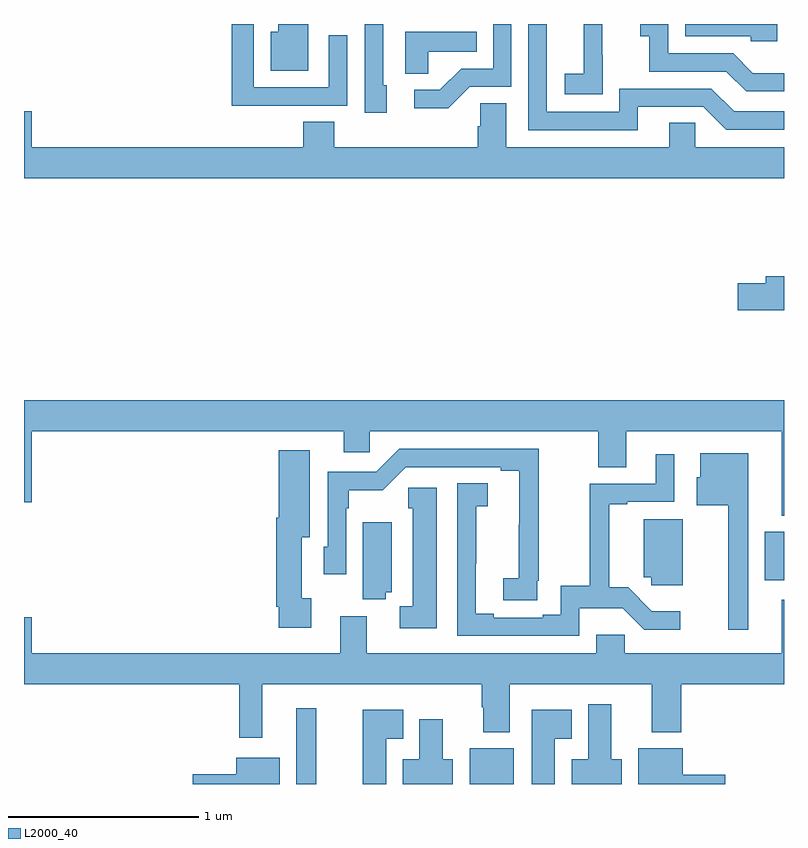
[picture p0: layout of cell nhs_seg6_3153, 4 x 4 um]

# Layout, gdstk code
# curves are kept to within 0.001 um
import gdstk
lib = gdstk.Library(unit=1e-6, precision=1e-09)
def R(c, l, rs):  # rectangles x0, y0, x1, y1
    for r in rs: c.add(gdstk.rectangle(r[:2], r[2:], *l))
def P(c, l, *ps):  # polygons
    for p in ps: c.add(gdstk.Polygon(p, *l))
L2000_40 = (2000, 40)

nhs_seg6_3153 = lib.new_cell('nhs_seg6_3153')
R(nhs_seg6_3153, L2000_40, [(298.433,925.5,298.537,925.9), (299.345,925.5,299.578,925.687), (300.899,926.573,301,926.827)])
P(nhs_seg6_3153, L2000_40, [(298.385,929.07),(298.701,929.07),(298.701,929.44),(298.605,929.44),(298.605,929.166),(298.209,929.166),(298.209,929.5),(298.093,929.5),(298.093,929.069),(298.385,929.069)],
  [(298.909,929.178),(298.89,929.178),(298.89,929.5),(298.794,929.5),(298.794,929.034),(298.909,929.034)],
  [(298.495,929.5),(298.337,929.5),(298.337,929.458),(298.298,929.458),(298.298,929.255),(298.495,929.255)],
  [(300.965,929.5),(300.48,929.5),(300.48,929.436),(300.825,929.436),(300.825,929.409),(300.965,929.409)],
  [(300.045,929.335),(300.044,929.335),(300.044,929.5),(299.946,929.5),(299.946,929.468),(299.945,929.468),(299.945,929.239),(299.847,929.239),(299.847,929.129),(300.045,929.129)],
  [(299.346,929.169),(299.565,929.169),(299.565,929.5),(299.469,929.5),(299.469,929.265),(299.3,929.265),(299.189,929.154),(299.055,929.154),(299.055,929.057),(299.233,929.057)],
  [(301,929.242),(300.836,929.242),(300.732,929.346),(300.39,929.346),(300.39,929.5),(300.243,929.5),(300.243,929.435),(300.292,929.435),(300.292,929.25),(300.695,929.25),(300.8,929.145),(301,929.145)],
  [(300.229,929.064),(300.576,929.064),(300.696,928.944),(301,928.944),(301,929.04),(300.738,929.04),(300.618,929.16),(300.132,929.16),(300.132,929.037),(299.751,929.037),(299.751,929.5),(299.655,929.5),(299.655,928.941),(300.229,928.941)],
  [(299.127,929.354),(299.384,929.354),(299.384,929.458),(299.006,929.458),(299.006,929.239),(299.127,929.239)],
  [(301,928.852),(300.534,928.852),(300.534,928.979),(300.395,928.979),(300.395,928.852),(299.539,928.852),(299.539,929.084),(299.4,929.084),(299.4,928.961),(299.387,928.961),(299.387,928.852),(298.634,928.852),(298.634,928.985),(298.469,928.985),(298.469,928.852),(297.04,928.852),(297.04,929.041),(297,929.041),(297,928.688),(301,928.688)],
  [(301,928.172),(300.905,928.172),(300.905,928.136),(300.756,928.136),(300.756,927.994),(301,927.994)],
  [(301,927.52),(297,927.52),(297,926.982),(297.04,926.982),(297.04,927.356),(298.682,927.356),(298.682,927.246),(298.821,927.246),(298.821,927.356),(300.022,927.356),(300.022,927.166),(300.169,927.166),(300.169,927.356),(300.989,927.356),(300.989,926.912),(301,926.912)],
  [(299.702,926.569),(299.708,926.569),(299.708,927.264),(298.974,927.264),(298.854,927.144),(298.599,927.144),(298.599,926.748),(298.578,926.748),(298.578,926.604),(298.695,926.604),(298.695,926.951),(298.708,926.951),(298.708,927.047),(298.889,927.047),(299.01,927.168),(299.51,927.168),(299.51,927.148),(299.606,927.148),(299.605,926.582),(299.523,926.582),(299.523,926.467),(299.702,926.467)],
  [(298.513,926.478),(298.462,926.478),(298.462,926.798),(298.504,926.798),(298.504,927.256),(298.34,927.256),(298.34,926.902),(298.328,926.902),(298.328,926.434),(298.34,926.434),(298.34,926.322),(298.513,926.322)],
  [(300.811,927.241),(300.56,927.241),(300.56,927.114),(300.542,927.114),(300.542,926.966),(300.707,926.966),(300.707,926.313),(300.811,926.313)],
  [(299.922,926.426),(300.151,926.426),(300.264,926.313),(300.454,926.313),(300.454,926.41),(300.305,926.41),(300.179,926.536),(300.08,926.536),(300.08,926.973),(300.175,926.973),(300.175,926.985),(300.423,926.985),(300.423,927.235),(300.326,927.235),(300.326,927.081),(299.977,927.081),(299.977,926.543),(299.826,926.543),(299.826,926.39),(299.729,926.39),(299.729,926.376),(299.473,926.376),(299.473,926.396),(299.377,926.396),(299.377,926.659),(299.379,926.659),(299.379,926.963),(299.44,926.963),(299.44,927.083),(299.28,927.083),(299.28,926.28),(299.922,926.28)],
  [(299.173,927.058),(299.023,927.058),(299.023,926.952),(299.045,926.952),(299.045,926.436),(298.977,926.436),(298.977,926.321),(299.173,926.321)],
  [(300.466,926.893),(300.263,926.893),(300.263,926.588),(300.3,926.588),(300.3,926.546),(300.466,926.546)],
  [(298.904,926.51),(298.936,926.51),(298.936,926.878),(298.784,926.878),(298.784,926.473),(298.904,926.473)],
  [(298.255,926.024),(299.41,926.024),(299.41,925.904),(299.417,925.904),(299.417,925.772),(299.557,925.772),(299.557,926.024),(300.305,926.024),(300.305,925.772),(300.458,925.772),(300.458,926.024),(301,926.024),(301,926.47),(300.989,926.47),(300.989,926.188),(300.163,926.188),(300.163,926.286),(300.011,926.286),(300.011,926.188),(298.804,926.188),(298.804,926.383),(298.664,926.383),(298.664,926.188),(297.04,926.188),(297.04,926.377),(297,926.377),(297,926.024),(298.134,926.024),(298.134,925.743),(298.255,925.743)],
  [(300.145,925.63),(300.091,925.63),(300.091,925.921),(299.969,925.921),(299.969,925.63),(299.882,925.63),(299.882,925.5),(300.145,925.5)],
  [(298.906,925.739),(298.996,925.739),(298.996,925.891),(298.784,925.891),(298.784,925.5),(298.906,925.5)],
  [(299.794,925.739),(299.884,925.739),(299.884,925.891),(299.672,925.891),(299.672,925.5),(299.794,925.5)],
  [(299.257,925.63),(299.203,925.63),(299.203,925.84),(299.081,925.84),(299.081,925.63),(298.994,925.63),(298.994,925.5),(299.257,925.5)],
  [(300.691,925.548),(300.466,925.548),(300.466,925.687),(300.233,925.687),(300.233,925.5),(300.691,925.5)],
  [(298.345,925.639),(298.118,925.639),(298.118,925.551),(297.888,925.551),(297.888,925.5),(298.345,925.5)])

lib.write_gds('nhs_seg6_3153.gds')
